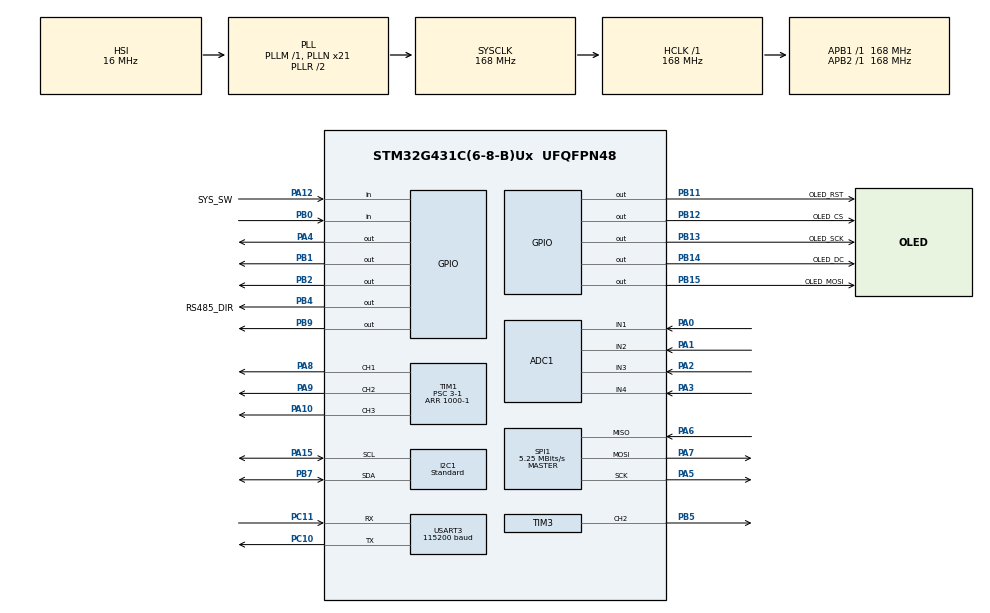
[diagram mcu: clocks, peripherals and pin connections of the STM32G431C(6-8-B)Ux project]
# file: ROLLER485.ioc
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ADC1.Channel-0\#ChannelRegularConversion=ADC_CHANNEL_2
ADC1.Channel-1\#ChannelRegularConversion=ADC_CHANNEL_3
ADC1.Channel-2\#ChannelRegularConversion=ADC_CHANNEL_4
ADC1.Channel-3\#ChannelRegularConversion=ADC_CHANNEL_1
ADC1.Channel-4\#ChannelRegularConversion=ADC_CHANNEL_TEMPSENSOR_ADC1
ADC1.Channel-5\#ChannelRegularConversion=ADC_CHANNEL_VREFINT
ADC1.DMAContinuousRequests=ENABLE
ADC1.DiscontinuousConvMode=ENABLE
ADC1.EOCSelection=ADC_EOC_SEQ_CONV
ADC1.ExternalTrigConv=ADC_EXTERNALTRIG_T1_TRGO
ADC1.NbrOfConversion=6
ADC1.NbrOfConversionFlag=1
ADC1.NbrOfDiscConversion=1
ADC1.OffsetNumber-0\#ChannelRegularConversion=ADC_OFFSET_NONE
ADC1.OffsetNumber-1\#ChannelRegularConversion=ADC_OFFSET_NONE
ADC1.OffsetNumber-2\#ChannelRegularConversion=ADC_OFFSET_NONE
ADC1.OffsetNumber-3\#ChannelRegularConversion=ADC_OFFSET_NONE
ADC1.OffsetNumber-4\#ChannelRegularConversion=ADC_OFFSET_NONE
ADC1.OffsetNumber-5\#ChannelRegularConversion=ADC_OFFSET_NONE
ADC1.Rank-0\#ChannelRegularConversion=1
ADC1.Rank-1\#ChannelRegularConversion=2
ADC1.Rank-2\#ChannelRegularConversion=3
ADC1.Rank-3\#ChannelRegularConversion=4
ADC1.Rank-4\#ChannelRegularConversion=5
ADC1.Rank-5\#ChannelRegularConversion=6
ADC1.SamplingTime-0\#ChannelRegularConversion=ADC_SAMPLETIME_12CYCLES_5
ADC1.SamplingTime-1\#ChannelRegularConversion=ADC_SAMPLETIME_12CYCLES_5
ADC1.SamplingTime-2\#ChannelRegularConversion=ADC_SAMPLETIME_12CYCLES_5
ADC1.SamplingTime-3\#ChannelRegularConversion=ADC_SAMPLETIME_12CYCLES_5
ADC1.SamplingTime-4\#ChannelRegularConversion=ADC_SAMPLETIME_12CYCLES_5
ADC1.SamplingTime-5\#ChannelRegularConversion=ADC_SAMPLETIME_12CYCLES_5
ADC1.master=1
Dma.ADC1.0.Direction=DMA_PERIPH_TO_MEMORY
Dma.ADC1.0.EventEnable=DISABLE
Dma.ADC1.0.Instance=DMA1_Channel1
Dma.ADC1.0.MemDataAlignment=DMA_MDATAALIGN_HALFWORD
Dma.ADC1.0.MemInc=DMA_MINC_ENABLE
Dma.ADC1.0.Mode=DMA_CIRCULAR
Dma.ADC1.0.PeriphDataAlignment=DMA_PDATAALIGN_HALFWORD
Dma.ADC1.0.PeriphInc=DMA_PINC_DISABLE
Dma.ADC1.0.Polarity=HAL_DMAMUX_REQ_GEN_RISING
Dma.ADC1.0.Priority=DMA_PRIORITY_LOW
Dma.ADC1.0.RequestNumber=1
Dma.ADC1.0.SignalID=NONE
Dma.ADC1.0.SyncEnable=DISABLE
Dma.ADC1.0.SyncPolarity=HAL_DMAMUX_SYNC_NO_EVENT
Dma.ADC1.0.SyncRequestNumber=1
Dma.ADC1.0.SyncSignalID=NONE
Dma.Request0=ADC1
Dma.Request1=USART3_RX
Dma.Request2=TIM3_CH2
Dma.Request3=USART3_TX
Dma.TIM3_CH2.2.Direction=DMA_MEMORY_TO_PERIPH
Dma.TIM3_CH2.2.EventEnable=DISABLE
Dma.TIM3_CH2.2.Instance=DMA1_Channel3
Dma.TIM3_CH2.2.MemDataAlignment=DMA_MDATAALIGN_HALFWORD
Dma.TIM3_CH2.2.MemInc=DMA_MINC_ENABLE
Dma.TIM3_CH2.2.Mode=DMA_NORMAL
Dma.TIM3_CH2.2.PeriphDataAlignment=DMA_PDATAALIGN_HALFWORD
Dma.TIM3_CH2.2.PeriphInc=DMA_PINC_DISABLE
Dma.TIM3_CH2.2.Polarity=HAL_DMAMUX_REQ_GEN_RISING
Dma.TIM3_CH2.2.Priority=DMA_PRIORITY_HIGH
Dma.TIM3_CH2.2.RequestNumber=1
Dma.TIM3_CH2.2.SignalID=NONE
Dma.TIM3_CH2.2.SyncEnable=DISABLE
Dma.TIM3_CH2.2.SyncPolarity=HAL_DMAMUX_SYNC_NO_EVENT
Dma.TIM3_CH2.2.SyncRequestNumber=1
Dma.TIM3_CH2.2.SyncSignalID=NONE
Dma.USART3_RX.1.Direction=DMA_PERIPH_TO_MEMORY
Dma.USART3_RX.1.EventEnable=DISABLE
Dma.USART3_RX.1.Instance=DMA1_Channel2
Dma.USART3_RX.1.MemDataAlignment=DMA_MDATAALIGN_BYTE
Dma.USART3_RX.1.MemInc=DMA_MINC_ENABLE
Dma.USART3_RX.1.Mode=DMA_NORMAL
Dma.USART3_RX.1.PeriphDataAlignment=DMA_PDATAALIGN_BYTE
Dma.USART3_RX.1.PeriphInc=DMA_PINC_DISABLE
Dma.USART3_RX.1.Polarity=HAL_DMAMUX_REQ_GEN_RISING
Dma.USART3_RX.1.Priority=DMA_PRIORITY_MEDIUM
Dma.USART3_RX.1.RequestNumber=1
Dma.USART3_RX.1.SignalID=NONE
Dma.USART3_RX.1.SyncEnable=DISABLE
Dma.USART3_RX.1.SyncPolarity=HAL_DMAMUX_SYNC_NO_EVENT
Dma.USART3_RX.1.SyncRequestNumber=1
Dma.USART3_RX.1.SyncSignalID=NONE
Dma.USART3_TX.3.Direction=DMA_MEMORY_TO_PERIPH
Dma.USART3_TX.3.EventEnable=DISABLE
Dma.USART3_TX.3.Instance=DMA1_Channel4
Dma.USART3_TX.3.MemDataAlignment=DMA_MDATAALIGN_BYTE
Dma.USART3_TX.3.MemInc=DMA_MINC_ENABLE
Dma.USART3_TX.3.Mode=DMA_NORMAL
Dma.USART3_TX.3.PeriphDataAlignment=DMA_PDATAALIGN_BYTE
Dma.USART3_TX.3.PeriphInc=DMA_PINC_DISABLE
Dma.USART3_TX.3.Polarity=HAL_DMAMUX_REQ_GEN_RISING
Dma.USART3_TX.3.Priority=DMA_PRIORITY_MEDIUM
Dma.USART3_TX.3.RequestNumber=1
Dma.USART3_TX.3.SignalID=NONE
Dma.USART3_TX.3.SyncEnable=DISABLE
Dma.USART3_TX.3.SyncPolarity=HAL_DMAMUX_SYNC_NO_EVENT
Dma.USART3_TX.3.SyncRequestNumber=1
Dma.USART3_TX.3.SyncSignalID=NONE
I2C1.I2C_Speed_Mode=I2C_Standard
I2C1.OwnAddress=0x64<<1
I2C1.Timing=0x60505F8C
Mcu.Family=STM32G4
Mcu.Name=STM32G431C(6-8-B)Ux
Mcu.Package=UFQFPN48
NVIC.DMA1_Channel1_IRQn=true\:0\:0\:false\:false\:true\:false\:true\:true
NVIC.DMA1_Channel2_IRQn=true\:3\:0\:true\:false\:true\:false\:true\:true
NVIC.DMA1_Channel3_IRQn=true\:2\:0\:true\:false\:true\:false\:true\:true
NVIC.DMA1_Channel4_IRQn=true\:3\:0\:true\:false\:true\:false\:true\:true
NVIC.I2C1_ER_IRQn=true\:0\:0\:false\:false\:true\:true\:true\:true
NVIC.I2C1_EV_IRQn=true\:0\:0\:false\:false\:true\:true\:true\:true
NVIC.PriorityGroup=NVIC_PRIORITYGROUP_4
NVIC.TIM1_UP_TIM16_IRQn=true\:0\:0\:false\:false\:false\:true\:true\:true
NVIC.USART3_IRQn=true\:3\:0\:true\:false\:true\:true\:true\:true
PA0.Mode=IN1-Single-Ended
PA0.Signal=ADC1_IN1
PA1.Mode=IN2-Single-Ended
PA1.Signal=ADC1_IN2
PA10.Signal=S_TIM1_CH3
PA12.GPIO_Label=SYS_SW
PA12.GPIO_PuPd=GPIO_PULLUP
PA12.Signal=GPIO_Input
PA13.Mode=Serial_Wire
PA13.Signal=SYS_JTMS-SWDIO
PA14.Mode=Serial_Wire
PA14.Signal=SYS_JTCK-SWCLK
PA15.GPIO_Pu=GPIO_PULLUP
PA15.Mode=I2C
PA15.Signal=I2C1_SCL
PA2.Mode=IN3-Single-Ended
PA2.Signal=ADC1_IN3
PA3.Mode=IN4-Single-Ended
PA3.Signal=ADC1_IN4
PA4.GPIO_Speed=GPIO_SPEED_FREQ_VERY_HIGH
PA4.Signal=GPIO_Output
PA5.GPIO_Speed=GPIO_SPEED_FREQ_VERY_HIGH
PA5.Mode=Full_Duplex_Master
PA5.Signal=SPI1_SCK
PA6.GPIO_Speed=GPIO_SPEED_FREQ_VERY_HIGH
PA6.Mode=Full_Duplex_Master
PA6.Signal=SPI1_MISO
PA7.GPIO_Speed=GPIO_SPEED_FREQ_VERY_HIGH
PA7.Mode=Full_Duplex_Master
PA7.Signal=SPI1_MOSI
PA8.Signal=S_TIM1_CH1
PA9.Signal=S_TIM1_CH2
PB0.Signal=GPIO_Input
PB1.Signal=GPIO_Output
PB11.GPIO_Label=OLED_RST
PB11.GPIO_ModeDefaultOutputPP=GPIO_MODE_OUTPUT_PP
PB11.GPIO_Speed=GPIO_SPEED_FREQ_VERY_HIGH
PB11.Signal=GPIO_Output
PB12.GPIO_Label=OLED_CS
PB12.GPIO_Speed=GPIO_SPEED_FREQ_VERY_HIGH
PB12.PinState=GPIO_PIN_RESET
PB12.Signal=GPIO_Output
PB13.GPIO_Label=OLED_SCK
PB13.GPIO_Speed=GPIO_SPEED_FREQ_VERY_HIGH
PB13.Signal=GPIO_Output
PB14.GPIO_Label=OLED_DC
PB14.GPIO_Speed=GPIO_SPEED_FREQ_VERY_HIGH
PB14.Signal=GPIO_Output
PB15.GPIO_Label=OLED_MOSI
PB15.GPIO_Speed=GPIO_SPEED_FREQ_VERY_HIGH
PB15.Signal=GPIO_Output
PB2.Signal=GPIO_Output
PB4.GPIO_Label=RS485_DIR
PB4.Signal=GPIO_Output
PB5.GPIO_PuPd=GPIO_PULLDOWN
PB5.Signal=S_TIM3_CH2
PB7.GPIO_FM7=SYSCFG_FASTMODEPLUS_PB7
PB7.GPIO_Pu=GPIO_PULLUP
PB7.Mode=I2C
PB7.Signal=I2C1_SDA
PB9.GPIO_Speed=GPIO_SPEED_FREQ_VERY_HIGH
PB9.Signal=GPIO_Output
PC10.Mode=Asynchronous
PC10.Signal=USART3_TX
PC11.Mode=Asynchronous
PC11.Signal=USART3_RX
ProjectManager.HeapSize=0x200
ProjectManager.StackSize=0x400
ProjectManager.TargetToolchain=CMake
RCC.ADC12Freq_Value=168000000
RCC.AHBFreq_Value=168000000
RCC.APB1Freq_Value=168000000
RCC.APB1TimFreq_Value=168000000
RCC.APB2Freq_Value=168000000
RCC.APB2TimFreq_Value=168000000
RCC.CortexFreq_Value=168000000
RCC.EXTERNAL_CLOCK_VALUE=12288000
RCC.HCLKFreq_Value=168000000
RCC.HSE_VALUE=8000000
RCC.HSI48_VALUE=48000000
RCC.HSI_VALUE=16000000
RCC.LSE_VALUE=32768
RCC.PLLN=21
RCC.SYSCLKFreq_VALUE=168000000
RCC.SYSCLKSource=RCC_SYSCLKSOURCE_PLLCLK
RCC.USBFreq_Value=168000000
RCC.VCOOutputFreq_Value=336000000
SH.S_TIM1_CH1.0=TIM1_CH1,PWM Generation1 CH1
SH.S_TIM1_CH2.0=TIM1_CH2,PWM Generation2 CH2
SH.S_TIM1_CH3.0=TIM1_CH3,PWM Generation3 CH3
SH.S_TIM3_CH2.0=TIM3_CH2,PWM Generation2 CH2
SPI1.BaudRatePrescaler=SPI_BAUDRATEPRESCALER_32
SPI1.CLKPhase=SPI_PHASE_2EDGE
SPI1.CLKPolarity=SPI_POLARITY_LOW
SPI1.CalculateBaudRate=5.25 MBits/s
SPI1.DataSize=SPI_DATASIZE_16BIT
SPI1.Direction=SPI_DIRECTION_2LINES
SPI1.Mode=SPI_MODE_MASTER
SPI1.VirtualType=VM_MASTER
TIM1.AutoReloadPreload=TIM_AUTORELOAD_PRELOAD_ENABLE
TIM1.Channel-PWM\ Generation1\ CH1=TIM_CHANNEL_1
TIM1.Channel-PWM\ Generation2\ CH2=TIM_CHANNEL_2
TIM1.Channel-PWM\ Generation3\ CH3=TIM_CHANNEL_3
TIM1.Channel-PWM\ Generation4\ No\ Output=TIM_CHANNEL_4
TIM1.CounterMode=TIM_COUNTERMODE_CENTERALIGNED1
TIM1.OCMode_PWM-PWM\ Generation4\ No\ Output=TIM_OCMODE_PWM2
TIM1.PeriodNoDither=1000-1
TIM1.Prescaler=3-1
TIM1.TIM_MasterOutputTrigger=TIM_TRGO_OC4REF
TIM3.Channel-PWM\ Generation2\ CH2=TIM_CHANNEL_2
TIM3.PeriodNoDither=210-1
USART3.BaudRate=115200
USART3.DMADisableonRxErrorParam=ADVFEATURE_DMA_ENABLEONRXERROR
USART3.VirtualMode-Asynchronous=VM_ASYNC
VP_ADC1_TempSens_Input.Mode=IN-TempSens
VP_ADC1_Vref_Input.Mode=IN-Vrefint
VP_SYS_VS_DBSignals.Mode=DisableDeadBatterySignals
VP_TIM1_VS_ClockSourceINT.Mode=Internal
VP_TIM1_VS_no_output4.Mode=PWM Generation4 No Output
board=custom

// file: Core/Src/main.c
/* USER CODE BEGIN Header */
/**
 ******************************************************************************
 * @file           : main.c
 * @brief          : Main program body
 ******************************************************************************
 * @attention
 *
 * Copyright (c) 2023 STMicroelectronics.
 * All rights reserved.
 *
 * This software is licensed under terms that can be found in the LICENSE file
 * in the root directory of this software component.
 * If no LICENSE file comes with this software, it is provided AS-IS.
 *
 ******************************************************************************
 */
/* USER CODE END Header */
#include "main.h"
#include "adc.h"
#include "dma.h"
#include "i2c.h"
#include "spi.h"
#include "tim.h"
#include "usart.h"
#include "gpio.h"

/* USER CODE BEGIN Includes */
#include "mysys.h"
#include "rgb.h"
#include "flash.h"
#include "i2c_ex.h"
#include "motordriver.h"
#include "encoder.h"
#include "u8g2_disp_fun.h"
#include "myadc.h"
#include "smart_knob.h"
#include "i2c_protocol.h"
#include <string.h>
/* USER CODE END Includes */

/* USER CODE BEGIN PD */
#define I2C_ADDRESS         (0x64)
#define APPLICATION_ADDRESS ((uint32_t)0x08002000)
/* USER CODE END PD */

/* USER CODE BEGIN PV */
uint8_t flash_data[FLASH_DATA_SIZE] = {0};
uint8_t i2c_address[1]              = {I2C_ADDRESS};
uint8_t motor_disable_flag          = 0;
/* USER CODE END PV */

void SystemClock_Config(void);

/* USER CODE BEGIN 0 */
void IAP_Set(void)
{
    extern uint32_t g_pfnVectors[];

    SCB->VTOR = (uint32_t)g_pfnVectors;
    __DSB();
    __ISB();
}

__STATIC_INLINE uint32_t GXT_SYSTICK_IsActiveCounterFlag(void)
{
    return ((SysTick->CTRL & SysTick_CTRL_COUNTFLAG_Msk) == (SysTick_CTRL_COUNTFLAG_Msk));
}

static uint32_t getCurrentMicros(void)
{
    /* Ensure COUNTFLAG is reset by reading SysTick control and status register */
    GXT_SYSTICK_IsActiveCounterFlag();
    uint32_t m         = HAL_GetTick();
    const uint32_t tms = SysTick->LOAD + 1;
    __IO uint32_t u    = tms - SysTick->VAL;
    if (GXT_SYSTICK_IsActiveCounterFlag()) {
        m = HAL_GetTick();
        u = tms - SysTick->VAL;
    }
    return (m * 1000 + (u * 1000) / tms);
}

// 获取系统时间，单位us
uint32_t micros(void)
{
    return getCurrentMicros();
}

void init_flash_data(void)
{
    if (!(readPackedMessageFromFlash(flash_data, FLASH_DATA_SIZE))) {
        i2c_address[0] = I2C_ADDRESS;
        flash_data[0]  = i2c_address[0];
        flash_data[1]  = motor_mode;
        flash_data[2]  = angle_cal_offset;
        flash_data[3]  = (angle_cal_offset >> 8);
        flash_data[4]  = motor_id;
        // speed p
        flash_data[5] = speed_pid_int[0];
        flash_data[6] = speed_pid_int[0] >> 8;
        flash_data[7] = speed_pid_int[0] >> 16;
        flash_data[8] = speed_pid_int[0] >> 24;
        // speed i
        flash_data[9]  = speed_pid_int[1];
        flash_data[10] = speed_pid_int[1] >> 8;
        flash_data[11] = speed_pid_int[1] >> 16;
        flash_data[12] = speed_pid_int[1] >> 24;
        // speed d
        flash_data[13] = speed_pid_int[2];
        flash_data[14] = speed_pid_int[2] >> 8;
        flash_data[15] = speed_pid_int[2] >> 16;
        flash_data[16] = speed_pid_int[2] >> 24;
        // pos p
        flash_data[17] = pos_pid_int[0];
        flash_data[18] = pos_pid_int[0] >> 8;
        flash_data[19] = pos_pid_int[0] >> 16;
        flash_data[20] = pos_pid_int[0] >> 24;
        // pos i
        flash_data[21] = pos_pid_int[1];
        flash_data[22] = pos_pid_int[1] >> 8;
        flash_data[23] = pos_pid_int[1] >> 16;
        flash_data[24] = pos_pid_int[1] >> 24;
        // pos d
        flash_data[25] = pos_pid_int[2];
        flash_data[26] = pos_pid_int[2] >> 8;
        flash_data[27] = pos_pid_int[2] >> 16;
        flash_data[28] = pos_pid_int[2] >> 24;
        flash_data[29] = comm_type;
        flash_data[30] = speed_pid_index;
        flash_data[31] = pos_pid_index;
        flash_data[32] = bps_index;
        flash_data[33] = brightness_index;
        flash_data[34] = rgb_show_mode;
        flash_data[35] = motor_stall_protection_flag;
        flash_data[36] = motor_overvalue_protection_flag;
        writeMessageToFlash(flash_data, FLASH_DATA_SIZE);
    } else {
        i2c_address[0]   = flash_data[0];
        motor_mode       = flash_data[1];
        angle_cal_offset = flash_data[2] | (flash_data[3] << 8);
        motor_id         = flash_data[4];
        // speed p
        memcpy((uint8_t *)&speed_pid_int[0], (uint8_t *)&flash_data[5], 4);
        // speed i
        memcpy((uint8_t *)&speed_pid_int[1], (uint8_t *)&flash_data[9], 4);
        // speed d
        memcpy((uint8_t *)&speed_pid_int[2], (uint8_t *)&flash_data[13], 4);
        // pos p
        memcpy((uint8_t *)&pos_pid_int[0], (uint8_t *)&flash_data[17], 4);
        // pos i
        memcpy((uint8_t *)&pos_pid_int[1], (uint8_t *)&flash_data[21], 4);
        // pos d
        memcpy((uint8_t *)&pos_pid_int[2], (uint8_t *)&flash_data[25], 4);
        comm_type                       = flash_data[29];
        speed_pid_index                 = flash_data[30];
        pos_pid_index                   = flash_data[31];
        bps_index                       = flash_data[32];
        brightness_index                = flash_data[33];
        rgb_show_mode                   = flash_data[34];
        motor_stall_protection_flag     = flash_data[35];
        motor_overvalue_protection_flag = flash_data[36];
        MotorDriverSetAngleOffset(angle_cal_offset);
        for (int i = 0; i < 3; i += 2) {
            pos_pid_float[i] = (float)pos_pid_int[i] / 100000;
        }
        pos_pid_float[1] = (float)pos_pid_int[1] / 10000000;
        for (int i = 0; i < 3; i += 2) {
            speed_pid_float[i] = (float)speed_pid_int[i] / 100000;
        }
        speed_pid_float[1] = (float)speed_pid_int[1] / 10000000;
    }

    if (motor_mode == MODE_SPEED_ERR_PROTECT) {
        motor_mode = MODE_SPEED;
    } else if (motor_mode == MODE_POS_ERR_PROTECT) {
        motor_mode = MODE_POS;
    }
}

void flash_data_write_back(void)
{
    if (motor_mode == MODE_SPEED_ERR_PROTECT) {
        motor_mode = MODE_SPEED;
    } else if (motor_mode == MODE_POS_ERR_PROTECT) {
        motor_mode = MODE_POS;
    }

    flash_data[0] = i2c_address[0];
    flash_data[1] = motor_mode;
    flash_data[2] = angle_cal_offset;
    flash_data[3] = (angle_cal_offset >> 8);
    flash_data[4] = motor_id;
    // speed p
    flash_data[5] = speed_pid_int[0];
    flash_data[6] = speed_pid_int[0] >> 8;
    flash_data[7] = speed_pid_int[0] >> 16;
    flash_data[8] = speed_pid_int[0] >> 24;
    // speed i
    flash_data[9]  = speed_pid_int[1];
    flash_data[10] = speed_pid_int[1] >> 8;
    flash_data[11] = speed_pid_int[1] >> 16;
    flash_data[12] = speed_pid_int[1] >> 24;
    // speed d
    flash_data[13] = speed_pid_int[2];
    flash_data[14] = speed_pid_int[2] >> 8;
    flash_data[15] = speed_pid_int[2] >> 16;
    flash_data[16] = speed_pid_int[2] >> 24;
    // pos p
    flash_data[17] = pos_pid_int[0];
    flash_data[18] = pos_pid_int[0] >> 8;
    flash_data[19] = pos_pid_int[0] >> 16;
    flash_data[20] = pos_pid_int[0] >> 24;
    // pos i
    flash_data[21] = pos_pid_int[1];
    flash_data[22] = pos_pid_int[1] >> 8;
    flash_data[23] = pos_pid_int[1] >> 16;
    flash_data[24] = pos_pid_int[1] >> 24;
    // pos d
    flash_data[25] = pos_pid_int[2];
    flash_data[26] = pos_pid_int[2] >> 8;
    flash_data[27] = pos_pid_int[2] >> 16;
    flash_data[28] = pos_pid_int[2] >> 24;
    flash_data[29] = comm_type;
    flash_data[30] = speed_pid_index;
    flash_data[31] = pos_pid_index;
    flash_data[32] = bps_index;
    flash_data[33] = brightness_index;
    flash_data[34] = rgb_show_mode;
    flash_data[35] = motor_stall_protection_flag;
    flash_data[36] = motor_overvalue_protection_flag;
    writeMessageToFlash(flash_data, FLASH_DATA_SIZE);
}

void HAL_TIM_PWM_PulseFinishedCallback(TIM_HandleTypeDef *htim)
{
    HAL_TIM_PWM_Stop(&htim3, TIM_CHANNEL_2);
}

/* USER CODE END 0 */

int main(void)
{
    /* USER CODE BEGIN 1 */
    IAP_Set();
    /* USER CODE END 1 */

    /* MCU Configuration--------------------------------------------------------*/

    /* Reset of all peripherals, Initializes the Flash interface and the Systick. */
    HAL_Init();

    /* Configure the system clock */
    SystemClock_Config();

    /* Initialize all configured peripherals */
    MX_GPIO_Init();
    MX_DMA_Init();
    MX_ADC1_Init();
    MX_TIM1_Init();
    MX_SPI1_Init();
    MX_USART3_UART_Init();
    MX_TIM3_Init();
    MX_I2C1_Init();
    /* USER CODE BEGIN 2 */
    i2c_protocol_init();
    InitMysys();
    sk6812_init(PIXEL_MAX);
    /* USER CODE END 2 */

    /* Infinite loop */
    /* USER CODE BEGIN WHILE */
    while (1) {
        LoopMysys();
        /* USER CODE END WHILE */

    }
}

void SystemClock_Config(void)
{
    RCC_OscInitTypeDef RCC_OscInitStruct = {0};
    RCC_ClkInitTypeDef RCC_ClkInitStruct = {0};

    /** Configure the main internal regulator output voltage
     */
    HAL_PWREx_ControlVoltageScaling(PWR_REGULATOR_VOLTAGE_SCALE1_BOOST);

    /** Initializes the RCC Oscillators according to the specified parameters
     * in the RCC_OscInitTypeDef structure.
     */
    RCC_OscInitStruct.OscillatorType      = RCC_OSCILLATORTYPE_HSI;
    RCC_OscInitStruct.HSIState            = RCC_HSI_ON;
    RCC_OscInitStruct.HSICalibrationValue = RCC_HSICALIBRATION_DEFAULT;
    RCC_OscInitStruct.PLL.PLLState        = RCC_PLL_ON;
    RCC_OscInitStruct.PLL.PLLSource       = RCC_PLLSOURCE_HSI;
    RCC_OscInitStruct.PLL.PLLM            = RCC_PLLM_DIV1;
    RCC_OscInitStruct.PLL.PLLN            = 21;
    RCC_OscInitStruct.PLL.PLLP            = RCC_PLLP_DIV2;
    RCC_OscInitStruct.PLL.PLLQ            = RCC_PLLQ_DIV2;
    RCC_OscInitStruct.PLL.PLLR            = RCC_PLLR_DIV2;
    if (HAL_RCC_OscConfig(&RCC_OscInitStruct) != HAL_OK) {
        Error_Handler();
    }

    /** Initializes the CPU, AHB and APB buses clocks
     */
    RCC_ClkInitStruct.ClockType = RCC_CLOCKTYPE_HCLK | RCC_CLOCKTYPE_SYSCLK | RCC_CLOCKTYPE_PCLK1 | RCC_CLOCKTYPE_PCLK2;
    RCC_ClkInitStruct.SYSCLKSource   = RCC_SYSCLKSOURCE_PLLCLK;
    RCC_ClkInitStruct.AHBCLKDivider  = RCC_SYSCLK_DIV1;
    RCC_ClkInitStruct.APB1CLKDivider = RCC_HCLK_DIV1;
    RCC_ClkInitStruct.APB2CLKDivider = RCC_HCLK_DIV1;

    if (HAL_RCC_ClockConfig(&RCC_ClkInitStruct, FLASH_LATENCY_4) != HAL_OK) {
        Error_Handler();
    }
}

void Error_Handler(void)
{
    __disable_irq();
    while (1) {
    }
}
